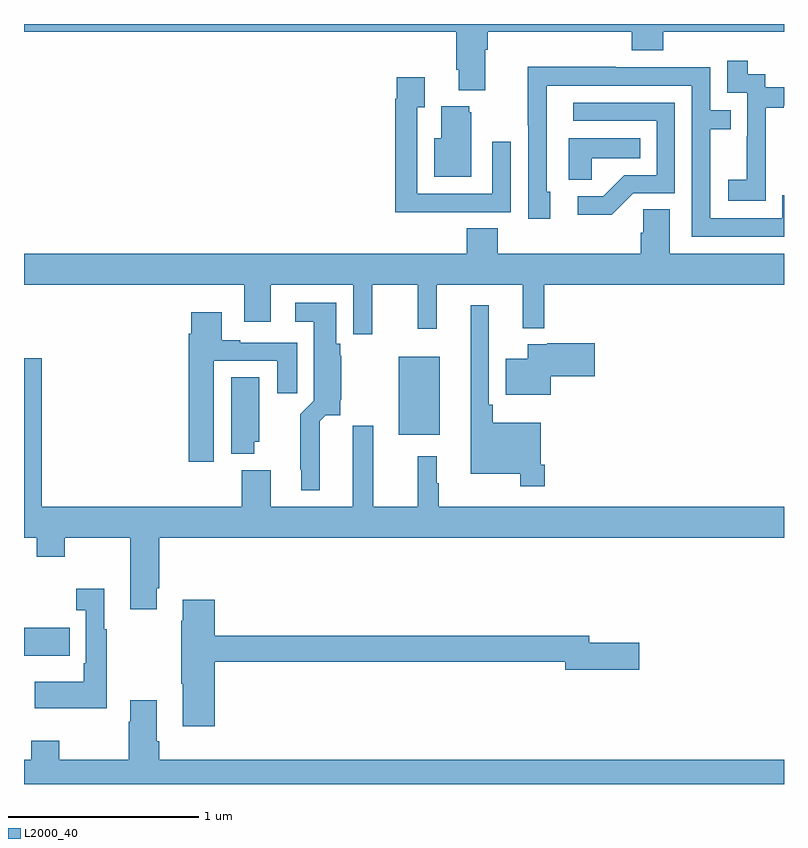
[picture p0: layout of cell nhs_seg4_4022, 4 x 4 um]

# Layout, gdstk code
import gdstk
lib = gdstk.Library(unit=1e-6, precision=1e-09)
def R(c, l, rs):  # rectangles x0, y0, x1, y1
    for r in rs: c.add(gdstk.rectangle(r[:2], r[2:], *l))
def P(c, l, *ps):  # polygons
    for p in ps: c.add(gdstk.Polygon(p, *l))
L2000_40 = (2000, 40)

nhs_seg4_4022 = lib.new_cell('nhs_seg4_4022')
R(nhs_seg4_4022, L2000_40, [(325,753.575,325.241,753.723), (326.972,754.739,327.187,755.149)])
P(nhs_seg4_4022, L2000_40, [(327.427,756.764),(327.44,756.764),(327.44,756.86),(328.199,756.86),(328.199,756.761),(328.364,756.761),(328.364,756.86),(329,756.86),(329,756.9),(325,756.9),(325,756.86),(327.275,756.86),(327.275,756.658),(327.287,756.658),(327.287,756.551),(327.427,756.551)],
  [(328.905,756.175),(328.904,756.175),(328.904,756.459),(328.999,756.459),(328.999,756.471),(329,756.471),(329,756.567),(328.902,756.567),(328.902,756.636),(328.81,756.636),(328.81,756.706),(328.701,756.706),(328.701,756.537),(328.806,756.537),(328.806,756.308),(328.805,756.308),(328.805,756.079),(328.707,756.079),(328.707,755.969),(328.905,755.969)],
  [(329,756),(328.992,756),(328.992,755.877),(328.611,755.877),(328.611,756.346),(328.721,756.346),(328.721,756.447),(328.611,756.447),(328.611,756.672),(328.115,756.672),(328.115,756.674),(327.652,756.674),(327.652,756.367),(327.654,756.367),(327.654,755.874),(327.769,755.874),(327.769,756.018),(327.75,756.018),(327.75,756.576),(328.515,756.576),(328.515,755.781),(329,755.781)],
  [(327.245,755.91),(327.561,755.91),(327.561,756.28),(327.465,756.28),(327.465,756.006),(327.069,756.006),(327.069,756.463),(327.109,756.463),(327.109,756.619),(326.961,756.619),(326.961,756.506),(326.953,756.506),(326.953,755.909),(327.245,755.909)],
  [(328.206,756.009),(328.425,756.009),(328.425,756.486),(327.891,756.486),(327.891,756.39),(328.329,756.39),(328.329,756.105),(328.16,756.105),(328.049,755.994),(327.915,755.994),(327.915,755.897),(328.093,755.897)],
  [(327.355,756.435),(327.344,756.435),(327.344,756.466),(327.197,756.466),(327.197,756.298),(327.158,756.298),(327.158,756.095),(327.355,756.095)],
  [(327.987,756.194),(328.244,756.194),(328.244,756.298),(327.866,756.298),(327.866,756.079),(327.987,756.079)],
  [(326.832,755.528),(327.073,755.528),(327.073,755.295),(327.173,755.295),(327.173,755.528),(327.626,755.528),(327.626,755.3),(327.739,755.3),(327.739,755.528),(329,755.528),(329,755.692),(328.399,755.692),(328.399,755.924),(328.26,755.924),(328.26,755.801),(328.247,755.801),(328.247,755.692),(327.494,755.692),(327.494,755.825),(327.329,755.825),(327.329,755.692),(325,755.692),(325,755.528),(326.159,755.528),(326.159,755.334),(326.299,755.334),(326.299,755.528),(326.733,755.528),(326.733,755.268),(326.832,755.268)],
  [(326.557,754.808),(326.589,754.841),(326.664,754.841),(326.664,754.917),(326.67,754.923),(326.67,755.154),(326.664,755.154),(326.664,755.217),(326.644,755.217),(326.644,755.434),(326.427,755.434),(326.427,755.333),(326.525,755.333),(326.525,754.916),(326.455,754.846),(326.455,754.555),(326.459,754.555),(326.459,754.445),(326.557,754.445)],
  [(327.74,754.579),(327.72,754.579),(327.72,754.801),(327.467,754.801),(327.467,754.897),(327.447,754.897),(327.447,755.419),(327.35,755.419),(327.35,754.532),(327.612,754.532),(327.612,754.467),(327.74,754.467)],
  [(325.999,755.127),(326.333,755.127),(326.333,754.956),(326.437,754.956),(326.437,755.223),(326.137,755.223),(326.137,755.236),(326.041,755.236),(326.041,755.383),(325.88,755.383),(325.88,755.27),(325.868,755.27),(325.868,754.596),(325.999,754.596)],
  [(327.772,755.045),(328.003,755.045),(328.003,755.22),(327.754,755.22),(327.754,755.215),(327.65,755.215),(327.65,755.137),(327.536,755.137),(327.536,754.949),(327.772,754.949)],
  [(325.699,753.931),(325.712,753.931),(325.712,754.196),(329,754.196),(329,754.36),(327.184,754.36),(327.184,754.484),(327.172,754.484),(327.172,754.624),(327.073,754.624),(327.073,754.36),(326.839,754.36),(326.839,754.786),(326.729,754.786),(326.729,754.36),(326.299,754.36),(326.299,754.552),(326.147,754.552),(326.147,754.36),(325.094,754.36),(325.094,755.14),(325,755.14),(325,754.196),(325.067,754.196),(325.067,754.097),(325.215,754.097),(325.215,754.196),(325.559,754.196),(325.559,753.819),(325.699,753.819)],
  [(326.212,754.701),(326.239,754.701),(326.239,755.042),(326.09,755.042),(326.09,754.637),(326.212,754.637)],
  [(325.435,753.715),(325.423,753.715),(325.423,753.928),(325.275,753.928),(325.275,753.815),(325.326,753.815),(325.326,753.535),(325.314,753.535),(325.314,753.439),(325.057,753.439),(325.057,753.299),(325.435,753.299)],
  [(326.003,753.544),(327.848,753.544),(327.848,753.502),(328.237,753.502),(328.237,753.644),(327.976,753.644),(327.976,753.68),(326.003,753.68),(326.003,753.871),(325.835,753.871),(325.835,753.758),(325.828,753.758),(325.828,753.427),(325.835,753.427),(325.835,753.204),(326.003,753.204)],
  [(329,753.028),(325.712,753.028),(325.712,753.124),(325.699,753.124),(325.699,753.34),(325.559,753.34),(325.559,753.227),(325.552,753.227),(325.552,753.028),(325.185,753.028),(325.185,753.127),(325.038,753.127),(325.038,753.028),(325,753.028),(325,752.9),(329,752.9)])

lib.write_gds('nhs_seg4_4022.gds')
